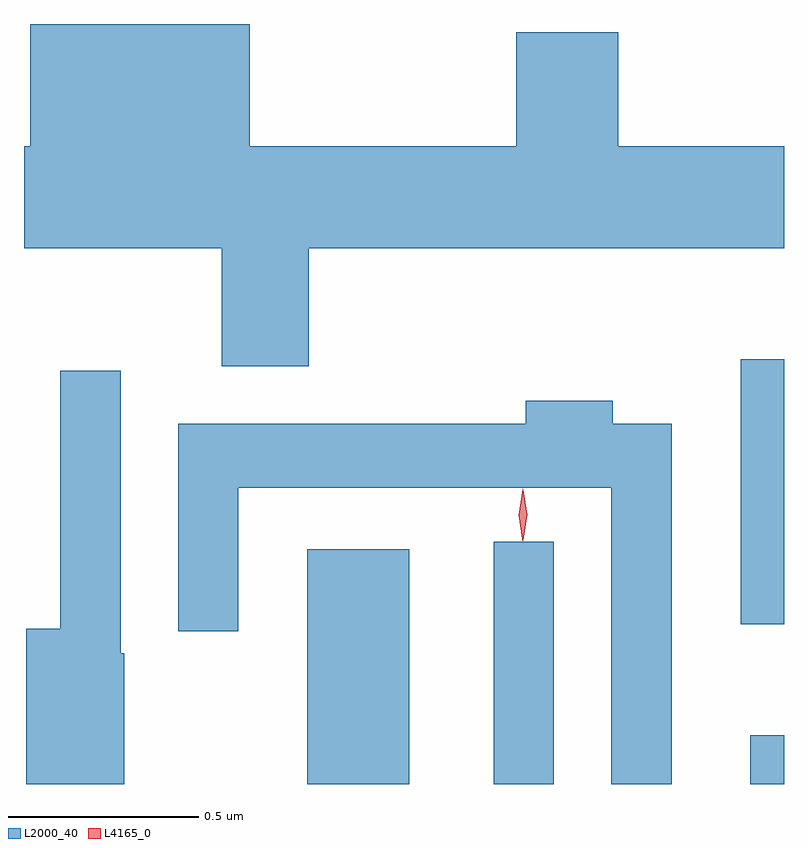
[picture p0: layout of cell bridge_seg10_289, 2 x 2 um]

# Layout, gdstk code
import gdstk
lib = gdstk.Library(unit=1e-6, precision=1e-09)
def R(c, l, rs):  # rectangles x0, y0, x1, y1
    for r in rs: c.add(gdstk.rectangle(r[:2], r[2:], *l))
def P(c, l, *ps):  # polygons
    for p in ps: c.add(gdstk.Polygon(p, *l))
L2000_40 = (2000, 40)
L4165_0 = (4165, 0)

bridge_seg10_289 = lib.new_cell('bridge_seg10_289')
R(bridge_seg10_289, L2000_40, [(1812.926,2101.406,1813.194,2102.024), (1813.416,2101.406,1813.574,2102.043), (1814.091,2101.406,1814.18,2101.534), (1814.066,2101.826,1814.18,2102.524)])
P(bridge_seg10_289, L2000_40, [(1812.929,2102.816),(1814.18,2102.816),(1814.18,2103.084),(1813.744,2103.084),(1813.744,2103.384),(1813.476,2103.384),(1813.476,2103.084),(1812.774,2103.084),(1812.774,2103.406),(1812.196,2103.406),(1812.196,2103.084),(1812.18,2103.084),(1812.18,2102.816),(1812.701,2102.816),(1812.701,2102.506),(1812.929,2102.506)],
  [(1812.444,2101.75),(1812.434,2101.75),(1812.434,2102.493),(1812.276,2102.493),(1812.276,2101.814),(1812.186,2101.814),(1812.186,2101.406),(1812.444,2101.406)],
  [(1813.884,2102.354),(1813.729,2102.354),(1813.729,2102.414),(1813.501,2102.414),(1813.501,2102.354),(1812.586,2102.354),(1812.586,2101.808),(1812.744,2101.808),(1812.744,2102.186),(1813.726,2102.186),(1813.726,2101.406),(1813.884,2101.406)])
P(bridge_seg10_289, L4165_0, [(1813.492,2102.044),(1813.492,2102.044),(1813.482,2102.113),(1813.492,2102.182),(1813.492,2102.183),(1813.493,2102.182),(1813.502,2102.113),(1813.493,2102.044)],
  [(1813.494,2102.047),(1813.493,2102.048),(1813.484,2102.114),(1813.493,2102.18),(1813.494,2102.18),(1813.494,2102.18),(1813.504,2102.114),(1813.494,2102.048)])

lib.write_gds('bridge_seg10_289.gds')
